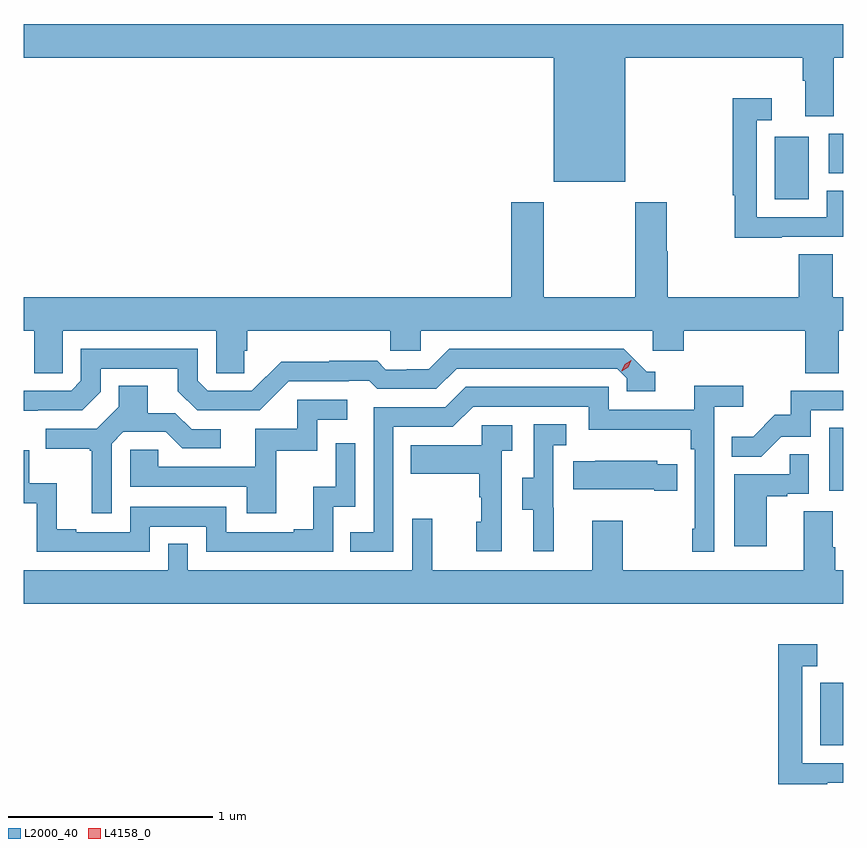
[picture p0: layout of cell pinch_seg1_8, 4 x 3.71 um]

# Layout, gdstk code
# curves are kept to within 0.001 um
import gdstk
lib = gdstk.Library(unit=1e-6, precision=1e-09)
def R(c, l, rs):  # rectangles x0, y0, x1, y1
    for r in rs: c.add(gdstk.rectangle(r[:2], r[2:], *l))
def P(c, l, *ps):  # polygons
    for p in ps: c.add(gdstk.Polygon(p, *l))
L2000_40 = (2000, 40)
L4158_0 = (4158, 0)

pinch_seg1_8 = lib.new_cell('pinch_seg1_8')
R(pinch_seg1_8, L2000_40, [(1084.844,571.02,1084.956,571.327), (1084.886,572.262,1084.956,572.569), (1084.622,573.684,1084.786,573.991), (1084.884,573.811,1084.956,574.005)])
P(pinch_seg1_8, L2000_40, [(1080.956,574.376),(1083.542,574.376),(1083.542,573.77),(1083.892,573.77),(1083.892,574.376),(1084.757,574.376),(1084.757,574.264),(1084.769,574.264),(1084.769,574.09),(1084.909,574.09),(1084.909,574.376),(1084.956,574.376),(1084.956,574.54),(1080.956,574.54)],
  [(1084.655,573.501),(1084.956,573.501),(1084.956,573.726),(1084.875,573.726),(1084.875,573.597),(1084.533,573.597),(1084.533,574.071),(1084.606,574.071),(1084.606,574.177),(1084.417,574.177),(1084.417,573.704),(1084.425,573.704),(1084.425,573.496),(1084.655,573.496)],
  [(1081.146,573.044),(1081.896,573.044),(1081.896,572.836),(1082.033,572.836),(1082.033,572.946),(1082.048,572.946),(1082.048,573.044),(1082.745,573.044),(1082.745,572.946),(1082.895,572.946),(1082.895,573.044),(1084.026,573.044),(1084.026,572.946),(1084.178,572.946),(1084.178,573.044),(1084.769,573.044),(1084.769,572.836),(1084.934,572.836),(1084.934,573.044),(1084.956,573.044),(1084.956,573.208),(1084.904,573.208),(1084.904,573.416),(1084.739,573.416),(1084.739,573.208),(1084.1,573.208),(1084.1,573.431),(1084.095,573.431),(1084.095,573.67),(1083.94,573.67),(1083.94,573.208),(1083.495,573.208),(1083.495,573.67),(1083.335,573.67),(1083.335,573.208),(1080.956,573.208),(1080.956,573.044),(1081.007,573.044),(1081.007,572.836),(1081.146,572.836)],
  [(1081.026,572.655),(1081.242,572.655),(1081.332,572.745),(1081.332,572.859),(1081.709,572.859),(1081.709,572.749),(1081.803,572.655),(1082.109,572.655),(1082.25,572.796),(1082.543,572.796),(1082.543,572.799),(1082.642,572.799),(1082.681,572.76),(1082.97,572.76),(1083.069,572.859),(1083.852,572.859),(1083.9,572.811),(1083.9,572.748),(1084.039,572.748),(1084.039,572.844),(1083.996,572.844),(1083.885,572.955),(1083.032,572.955),(1082.933,572.856),(1082.826,572.856),(1082.826,572.853),(1082.723,572.853),(1082.681,572.896),(1082.448,572.896),(1082.448,572.893),(1082.212,572.893),(1082.07,572.751),(1081.854,572.751),(1081.806,572.799),(1081.806,572.955),(1081.236,572.955),(1081.236,572.799),(1081.188,572.751),(1080.956,572.751),(1080.956,572.654)],
  [(1081.386,572.493),(1081.443,572.55),(1081.649,572.55),(1081.73,572.469),(1081.918,572.469),(1081.918,572.562),(1081.776,572.562),(1081.696,572.642),(1081.561,572.642),(1081.561,572.774),(1081.421,572.774),(1081.421,572.672),(1081.314,572.565),(1081.065,572.565),(1081.065,572.468),(1081.278,572.468),(1081.278,572.457),(1081.289,572.457),(1081.289,572.154),(1081.386,572.154)],
  [(1082.76,572.574),(1083.051,572.574),(1083.15,572.673),(1083.714,572.673),(1083.714,572.561),(1084.21,572.561),(1084.21,572.465),(1084.23,572.465),(1084.23,572.077),(1084.218,572.077),(1084.218,571.965),(1084.326,571.965),(1084.326,572.672),(1084.468,572.672),(1084.468,572.774),(1084.229,572.774),(1084.229,572.658),(1083.81,572.658),(1083.81,572.769),(1083.113,572.769),(1083.014,572.67),(1082.664,572.67),(1082.664,572.061),(1082.551,572.061),(1082.551,571.965),(1082.76,571.965)],
  [(1084.653,572.526),(1084.797,572.526),(1084.797,572.655),(1084.956,572.655),(1084.956,572.751),(1084.699,572.751),(1084.699,572.634),(1084.622,572.634),(1084.515,572.527),(1084.411,572.527),(1084.411,572.428),(1084.555,572.428)],
  [(1082.189,572.457),(1082.388,572.457),(1082.388,572.61),(1082.536,572.61),(1082.536,572.706),(1082.292,572.706),(1082.292,572.565),(1082.087,572.565),(1082.087,572.379),(1081.613,572.379),(1081.613,572.463),(1081.476,572.463),(1081.476,572.283),(1082.045,572.283),(1082.045,572.154),(1082.189,572.154)],
  [(1083.542,572.181),(1083.54,572.181),(1083.54,572.485),(1083.604,572.485),(1083.604,572.588),(1083.444,572.588),(1083.444,572.325),(1083.389,572.325),(1083.389,572.17),(1083.443,572.17),(1083.443,571.968),(1083.542,571.968)],
  [(1083.288,572.459),(1083.34,572.459),(1083.34,572.583),(1083.192,572.583),(1083.192,572.485),(1082.845,572.485),(1082.845,572.345),(1083.18,572.345),(1083.18,572.231),(1083.19,572.231),(1083.19,572.112),(1083.164,572.112),(1083.164,571.968),(1083.288,571.968)],
  [(1081.572,572.088),(1081.848,572.088),(1081.848,571.965),(1082.466,571.965),(1082.466,572.184),(1082.574,572.184),(1082.574,572.494),(1082.478,572.494),(1082.478,572.282),(1082.369,572.282),(1082.369,572.074),(1082.273,572.074),(1082.273,572.061),(1081.944,572.061),(1081.944,572.184),(1081.476,572.184),(1081.476,572.061),(1081.213,572.061),(1081.213,572.074),(1081.117,572.074),(1081.117,572.299),(1080.984,572.299),(1080.984,572.46),(1080.956,572.46),(1080.956,572.201),(1081.02,572.201),(1081.02,571.965),(1081.572,571.965)],
  [(1084.582,572.235),(1084.682,572.235),(1084.682,572.247),(1084.788,572.247),(1084.788,572.441),(1084.693,572.441),(1084.693,572.343),(1084.424,572.343),(1084.424,571.992),(1084.582,571.992)],
  [(1084.145,572.392),(1084.047,572.392),(1084.047,572.41),(1083.745,572.41),(1083.745,572.407),(1083.637,572.407),(1083.637,572.27),(1084.034,572.27),(1084.034,572.263),(1084.145,572.263)],
  [(1084.956,571.876),(1084.916,571.876),(1084.916,571.988),(1084.903,571.988),(1084.903,572.162),(1084.763,572.162),(1084.763,571.876),(1083.879,571.876),(1083.879,572.116),(1083.731,572.116),(1083.731,571.876),(1082.951,571.876),(1082.951,572.125),(1082.853,572.125),(1082.853,571.876),(1081.758,571.876),(1081.758,572.003),(1081.662,572.003),(1081.662,571.876),(1080.956,571.876),(1080.956,571.712),(1084.956,571.712)],
  [(1084.877,570.837),(1084.956,570.837),(1084.956,570.933),(1084.755,570.933),(1084.755,571.407),(1084.828,571.407),(1084.828,571.513),(1084.639,571.513),(1084.639,570.832),(1084.877,570.832)])
P(pinch_seg1_8, L4158_0, [(1083.874,572.847),(1083.874,572.848),(1083.89,572.88),(1083.921,572.899),(1083.921,572.899),(1083.921,572.899),(1083.905,572.866),(1083.874,572.847)])

lib.write_gds('pinch_seg1_8.gds')
